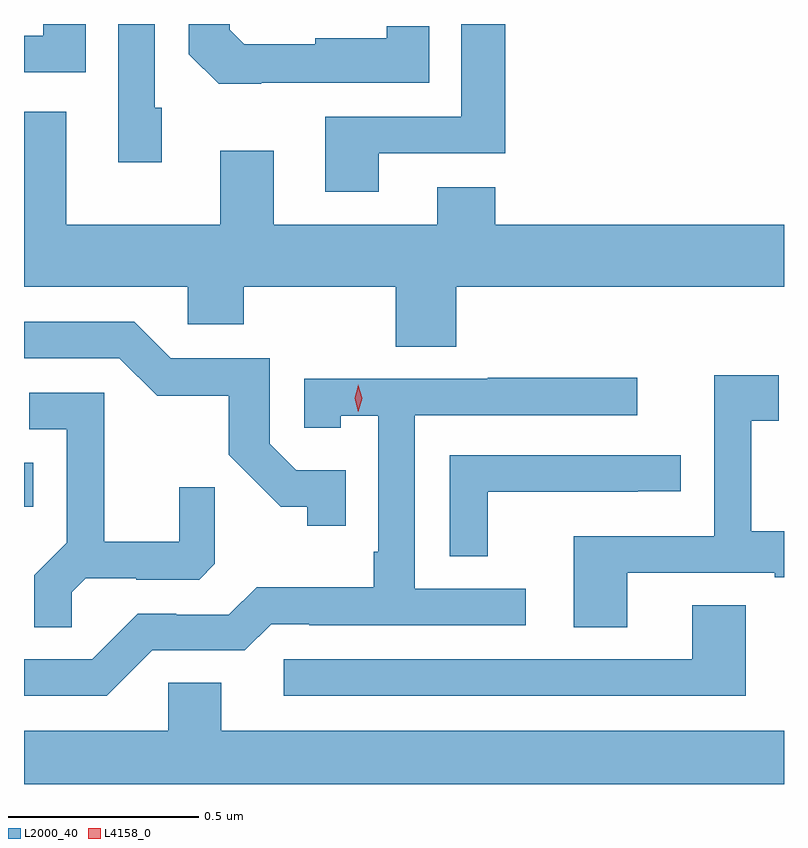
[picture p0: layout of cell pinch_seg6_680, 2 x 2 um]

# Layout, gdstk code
import gdstk
lib = gdstk.Library(unit=1e-6, precision=1e-09)
def R(c, l, rs):  # rectangles x0, y0, x1, y1
    for r in rs: c.add(gdstk.rectangle(r[:2], r[2:], *l))
def P(c, l, *ps):  # polygons
    for p in ps: c.add(gdstk.Polygon(p, *l))
L2000_40 = (2000, 40)
L4158_0 = (4158, 0)

pinch_seg6_680 = lib.new_cell('pinch_seg6_680')
R(pinch_seg6_680, L2000_40, [(491.914,941.429,491.938,941.545)])
P(pinch_seg6_680, L2000_40, [(492.538,942.546),(492.98,942.546),(492.98,942.694),(492.869,942.694),(492.869,942.662),(492.68,942.662),(492.68,942.647),(492.494,942.647),(492.456,942.685),(492.456,942.7),(492.348,942.7),(492.348,942.621),(492.427,942.543),(492.538,942.543)],
  [(492.277,942.48),(492.258,942.48),(492.258,942.7),(492.162,942.7),(492.162,942.336),(492.277,942.336)],
  [(492.077,942.7),(491.965,942.7),(491.965,942.669),(491.914,942.669),(491.914,942.573),(492.077,942.573)],
  [(492.847,942.36),(493.181,942.36),(493.181,942.7),(493.065,942.7),(493.065,942.456),(492.707,942.456),(492.707,942.258),(492.847,942.258)],
  [(493.052,942.008),(493.914,942.008),(493.914,942.172),(493.154,942.172),(493.154,942.271),(493.001,942.271),(493.001,942.172),(492.571,942.172),(492.571,942.367),(492.431,942.367),(492.431,942.172),(492.025,942.172),(492.025,942.469),(491.914,942.469),(491.914,942.008),(492.345,942.008),(492.345,941.91),(492.492,941.91),(492.492,942.008),(492.892,942.008),(492.892,941.851),(493.052,941.851)],
  [(492.761,941.526),(492.63,941.526),(492.561,941.595),(492.561,941.82),(492.3,941.82),(492.204,941.916),(491.914,941.916),(491.914,941.82),(492.165,941.82),(492.264,941.722),(492.453,941.722),(492.453,941.566),(492.59,941.429),(492.66,941.429),(492.66,941.379),(492.761,941.379)],
  [(493.501,941.256),(493.889,941.256),(493.889,941.244),(493.914,941.244),(493.914,941.365),(493.828,941.365),(493.828,941.656),(493.9,941.656),(493.9,941.776),(493.731,941.776),(493.731,941.352),(493.361,941.352),(493.361,941.113),(493.501,941.113)],
  [(492.252,941.052),(492.495,941.052),(492.564,941.121),(492.664,941.121),(492.664,941.118),(493.234,941.118),(493.234,941.214),(492.942,941.214),(492.942,941.67),(493.528,941.67),(493.528,941.769),(493.135,941.769),(493.135,941.766),(492.651,941.766),(492.651,941.637),(492.747,941.637),(492.747,941.669),(492.846,941.669),(492.846,941.311),(492.834,941.311),(492.834,941.218),(492.526,941.218),(492.453,941.145),(492.314,941.145),(492.314,941.148),(492.213,941.148),(492.093,941.028),(491.914,941.028),(491.914,940.932),(492.132,940.932)],
  [(492.039,941.204),(492.076,941.241),(492.21,941.241),(492.21,941.238),(492.375,941.238),(492.416,941.279),(492.416,941.481),(492.322,941.481),(492.322,941.338),(492.125,941.338),(492.125,941.73),(491.928,941.73),(491.928,941.634),(492.027,941.634),(492.027,941.335),(491.941,941.249),(491.941,941.113),(492.039,941.113)],
  [(493.134,941.469),(493.529,941.469),(493.529,941.47),(493.642,941.47),(493.642,941.565),(493.035,941.565),(493.035,941.299),(493.134,941.299)],
  [(493.813,941.171),(493.673,941.171),(493.673,941.028),(492.597,941.028),(492.597,940.932),(493.813,940.932)],
  [(493.914,940.84),(492.433,940.84),(492.433,940.967),(492.294,940.967),(492.294,940.84),(491.914,940.84),(491.914,940.7),(493.914,940.7)])
P(pinch_seg6_680, L4158_0, [(492.794,941.679),(492.794,941.679),(492.784,941.715),(492.794,941.75),(492.794,941.751),(492.794,941.75),(492.804,941.715),(492.794,941.679)])

lib.write_gds('pinch_seg6_680.gds')
